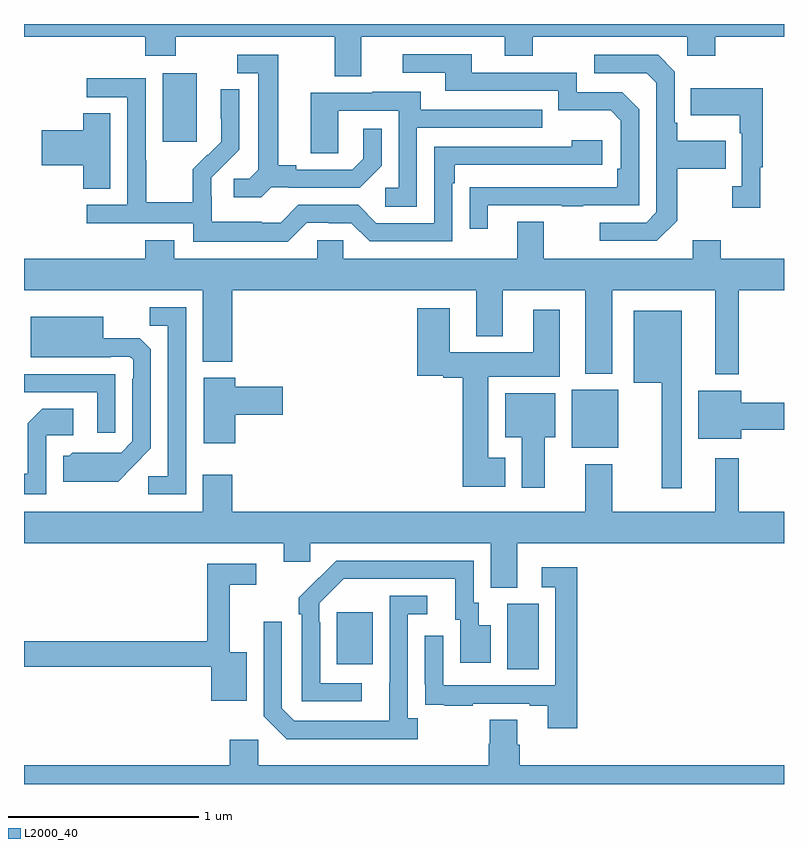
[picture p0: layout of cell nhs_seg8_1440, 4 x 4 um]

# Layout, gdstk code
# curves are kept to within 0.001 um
import gdstk
lib = gdstk.Library(unit=1e-6, precision=1e-09)
def R(c, l, rs):  # rectangles x0, y0, x1, y1
    for r in rs: c.add(gdstk.rectangle(r[:2], r[2:], *l))
def P(c, l, *ps):  # polygons
    for p in ps: c.add(gdstk.Polygon(p, *l))
L2000_40 = (2000, 40)

nhs_seg8_1440 = lib.new_cell('nhs_seg8_1440')
R(nhs_seg8_1440, L2000_40, [(205.544,1114.504,205.708,1114.848), (204.647,1114.529,204.835,1114.804), (205.883,1115.669,206.128,1115.974), (203.729,1117.281,203.908,1117.642)])
P(nhs_seg8_1440, L2000_40, [(204.775,1117.832),(205.529,1117.832),(205.529,1117.733),(205.677,1117.733),(205.677,1117.832),(206.49,1117.832),(206.49,1117.733),(206.637,1117.733),(206.637,1117.832),(207,1117.832),(207,1117.9),(203,1117.9),(203,1117.832),(203.639,1117.832),(203.639,1117.733),(203.799,1117.733),(203.799,1117.832),(204.635,1117.832),(204.635,1117.624),(204.775,1117.624)],
  [(205.441,1116.945),(205.831,1116.945),(205.831,1116.94),(205.943,1116.94),(205.943,1116.945),(206.238,1116.945),(206.238,1117.452),(206.148,1117.542),(205.908,1117.542),(205.908,1117.644),(205.357,1117.644),(205.357,1117.74),(204.993,1117.74),(204.993,1117.644),(205.217,1117.644),(205.217,1117.548),(205.812,1117.548),(205.812,1117.445),(206.089,1117.445),(206.142,1117.392),(206.142,1117.138),(206.122,1117.138),(206.122,1117.041),(205.345,1117.04),(205.345,1116.822),(205.441,1116.822)],
  [(206.437,1116.865),(206.437,1117.138),(206.693,1117.138),(206.693,1117.285),(206.437,1117.285),(206.437,1117.381),(206.424,1117.381),(206.424,1117.65),(206.337,1117.737),(206.001,1117.737),(206.001,1117.641),(206.277,1117.641),(206.328,1117.59),(206.328,1116.909),(206.274,1116.855),(206.031,1116.855),(206.031,1116.759),(206.331,1116.759)],
  [(204.3,1117.041),(204.394,1117.041),(204.394,1117.038),(204.766,1117.038),(204.882,1117.154),(204.882,1117.348),(204.785,1117.348),(204.785,1117.191),(204.728,1117.134),(204.433,1117.134),(204.433,1117.157),(204.337,1117.157),(204.337,1117.737),(204.123,1117.737),(204.123,1117.641),(204.233,1117.641),(204.233,1117.133),(204.186,1117.086),(204.105,1117.086),(204.105,1116.989),(204.248,1116.989)],
  [(204.489,1116.855),(204.605,1116.855),(204.605,1116.852),(204.723,1116.852),(204.819,1116.756),(205.254,1116.756),(205.254,1117.061),(205.267,1117.061),(205.267,1117.158),(206.044,1117.158),(206.044,1117.288),(205.883,1117.288),(205.883,1117.254),(205.158,1117.254),(205.158,1116.852),(204.855,1116.852),(204.759,1116.948),(204.444,1116.948),(204.351,1116.855),(204.251,1116.855),(204.251,1116.859),(203.988,1116.859),(203.988,1116.993),(203.986,1116.993),(203.986,1117.09),(204.132,1117.238),(204.132,1117.556),(204.036,1117.556),(204.036,1117.402),(204.038,1117.402),(204.038,1117.28),(203.967,1117.209),(203.964,1117.212),(203.887,1117.135),(203.887,1116.961),(203.643,1116.961),(203.643,1117.184),(203.64,1117.184),(203.64,1117.614),(203.331,1117.614),(203.331,1117.515),(203.544,1117.515),(203.544,1116.948),(203.331,1116.948),(203.331,1116.852),(203.892,1116.852),(203.892,1116.755),(204.389,1116.755)],
  [(206.875,1117.145),(206.887,1117.145),(206.887,1117.561),(206.509,1117.561),(206.509,1117.421),(206.766,1117.421),(206.766,1117.325),(206.778,1117.325),(206.778,1117.046),(206.727,1117.046),(206.727,1116.933),(206.875,1116.933)],
  [(205.068,1117.353),(205.727,1117.353),(205.727,1117.449),(205.087,1117.449),(205.087,1117.543),(204.833,1117.543),(204.833,1117.539),(204.509,1117.539),(204.509,1117.219),(204.654,1117.219),(204.654,1117.443),(204.972,1117.443),(204.972,1117.038),(204.9,1117.038),(204.9,1116.937),(205.068,1116.937)],
  [(203.455,1117.43),(203.312,1117.43),(203.312,1117.34),(203.094,1117.34),(203.094,1117.157),(203.312,1117.157),(203.312,1117.033),(203.455,1117.033)],
  [(206.761,1116.5),(207,1116.5),(207,1116.664),(206.667,1116.664),(206.667,1116.763),(206.519,1116.763),(206.519,1116.664),(205.735,1116.664),(205.735,1116.859),(205.595,1116.859),(205.595,1116.664),(204.681,1116.664),(204.681,1116.762),(204.543,1116.762),(204.543,1116.664),(203.791,1116.664),(203.791,1116.763),(203.639,1116.763),(203.639,1116.664),(203,1116.664),(203,1116.5),(203.942,1116.5),(203.942,1116.122),(204.095,1116.122),(204.095,1116.5),(205.379,1116.5),(205.379,1116.257),(205.519,1116.257),(205.519,1116.5),(205.955,1116.5),(205.955,1116.059),(206.095,1116.059),(206.095,1116.5),(206.639,1116.5),(206.639,1116.056),(206.761,1116.056)],
  [(203.853,1116.408),(203.662,1116.408),(203.662,1116.313),(203.757,1116.313),(203.757,1115.52),(203.655,1115.52),(203.655,1115.424),(203.853,1115.424)],
  [(205.534,1115.617),(205.444,1115.617),(205.444,1116.044),(205.819,1116.044),(205.819,1116.397),(205.679,1116.397),(205.679,1116.172),(205.24,1116.172),(205.24,1116.403),(205.07,1116.403),(205.07,1116.05),(205.206,1116.05),(205.206,1116.038),(205.31,1116.038),(205.31,1115.465),(205.534,1115.465)],
  [(206.461,1116.391),(206.21,1116.391),(206.21,1116.011),(206.357,1116.011),(206.357,1115.457),(206.461,1115.457)],
  [(203.575,1115.573),(203.667,1115.666),(203.667,1116.188),(203.608,1116.247),(203.416,1116.247),(203.416,1116.358),(203.036,1116.358),(203.036,1116.146),(203.456,1116.146),(203.456,1116.15),(203.556,1116.15),(203.574,1116.132),(203.574,1116.032),(203.571,1116.032),(203.571,1115.703),(203.511,1115.643),(203.254,1115.644),(203.238,1115.628),(203.207,1115.628),(203.207,1115.492),(203.495,1115.492)],
  [(203.481,1116.057),(203,1116.057),(203,1115.961),(203.385,1115.961),(203.385,1115.748),(203.481,1115.748)],
  [(204.112,1115.843),(204.361,1115.843),(204.361,1115.99),(204.112,1115.99),(204.112,1116.037),(203.945,1116.037),(203.945,1115.694),(204.112,1115.694)],
  [(206.776,1115.764),(207,1115.764),(207,1115.906),(206.776,1115.906),(206.776,1115.971),(206.549,1115.971),(206.549,1115.717),(206.776,1115.717)],
  [(205.741,1115.726),(205.795,1115.726),(205.795,1115.956),(205.532,1115.956),(205.532,1115.726),(205.619,1115.726),(205.619,1115.46),(205.741,1115.46)],
  [(203.118,1115.736),(203.26,1115.736),(203.26,1115.876),(203.095,1115.876),(203.019,1115.8),(203.019,1115.533),(203,1115.533),(203,1115.424),(203.118,1115.424)],
  [(205.597,1115.168),(207,1115.168),(207,1115.332),(206.761,1115.332),(206.761,1115.614),(206.639,1115.614),(206.639,1115.332),(206.095,1115.332),(206.095,1115.584),(205.955,1115.584),(205.955,1115.332),(204.095,1115.332),(204.095,1115.527),(203.942,1115.527),(203.942,1115.332),(203,1115.332),(203,1115.168),(204.368,1115.168),(204.368,1115.07),(204.507,1115.07),(204.507,1115.168),(205.457,1115.168),(205.457,1114.933),(205.597,1114.933)],
  [(204.778,1114.431),(204.558,1114.431),(204.558,1114.751),(204.555,1114.751),(204.555,1114.851),(204.684,1114.98),(205.271,1114.98),(205.271,1114.764),(205.295,1114.764),(205.295,1114.539),(205.456,1114.539),(205.456,1114.735),(205.393,1114.735),(205.393,1114.854),(205.368,1114.854),(205.368,1115.076),(204.644,1115.076),(204.447,1114.881),(204.447,1114.793),(204.462,1114.793),(204.462,1114.335),(204.778,1114.335)],
  [(204.172,1114.594),(204.083,1114.594),(204.083,1114.95),(204.223,1114.95),(204.223,1115.058),(203.965,1115.058),(203.965,1114.652),(203,1114.652),(203,1114.516),(203.985,1114.516),(203.985,1114.337),(204.172,1114.337)],
  [(205.913,1115.041),(205.725,1115.041),(205.725,1114.935),(205.797,1114.935),(205.797,1114.419),(205.206,1114.419),(205.206,1114.681),(205.11,1114.681),(205.11,1114.426),(205.111,1114.426),(205.111,1114.317),(205.213,1114.317),(205.213,1114.311),(205.361,1114.311),(205.361,1114.323),(205.661,1114.323),(205.661,1114.311),(205.757,1114.311),(205.757,1114.194),(205.913,1114.194)],
  [(205.072,1114.246),(205.02,1114.246),(205.02,1114.794),(205.123,1114.794),(205.123,1114.89),(204.924,1114.89),(204.923,1114.233),(204.423,1114.233),(204.357,1114.299),(204.357,1114.753),(204.261,1114.753),(204.261,1114.257),(204.382,1114.136),(205.072,1114.136)],
  [(205.45,1114.238),(205.45,1114.113),(205.445,1114.113),(205.445,1114),(204.234,1114),(204.234,1114.132),(204.083,1114.132),(204.083,1114),(203,1114),(203,1113.9),(207,1113.9),(207,1114),(205.61,1114),(205.61,1114.106),(205.597,1114.106),(205.597,1114.238)])

lib.write_gds('nhs_seg8_1440.gds')
